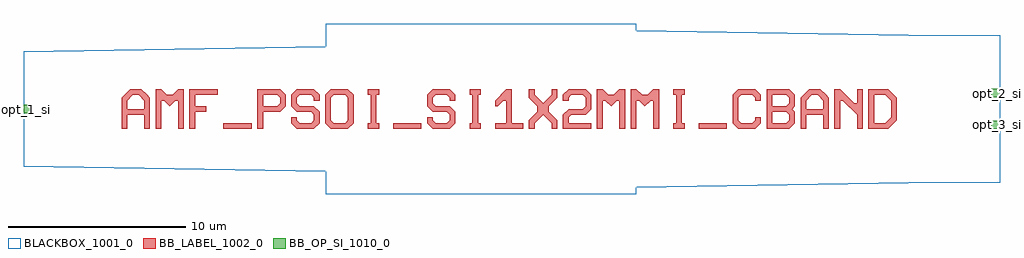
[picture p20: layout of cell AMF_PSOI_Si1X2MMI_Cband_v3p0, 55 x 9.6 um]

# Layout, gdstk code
import gdstk
lib = gdstk.Library(unit=1e-6, precision=1e-09)
def R(c, l, rs):  # rectangles x0, y0, x1, y1
    for r in rs: c.add(gdstk.rectangle(r[:2], r[2:], *l))
def P(c, l, *ps):  # polygons
    for p in ps: c.add(gdstk.Polygon(p, *l))
BLACKBOX_1001_0 = (1001, 0)
BB_LABEL_1002_0 = (1002, 0)
BB_OP_SI_1010_0 = (1010, 0)

amf_psoi_si1x2mmi_cband_ = lib.new_cell('AMF_PSOI_Si1X2MMI_Cband_v3p0')
P(amf_psoi_si1x2mmi_cband_, BLACKBOX_1001_0, [(17,-4.8),(17,-3.548),(0,-3.251),(0,3.25),(17,3.548),(17,4.8),(34.5,4.8),(34.5,4.448),(51.552,4.15),(55,4.15),(55,-4.15),(51.552,-4.15),(34.5,-4.448),(34.5,-4.8)])
R(amf_psoi_si1x2mmi_cband_, BB_LABEL_1002_0, [(11.239,-1.116,12.833,-0.797), (20.804,-1.116,22.398,-0.797), (38.021,-1.116,39.615,-0.797)])
P(amf_psoi_si1x2mmi_cband_, BB_LABEL_1002_0, [(5.5,-1.116),(5.5,0.637),(5.978,1.116),(6.616,1.116),(6.935,0.797),(6.138,0.797),(5.819,0.478),(5.819,0),(6.775,0),(6.775,0.478),(6.456,0.797),(6.935,0.797),(7.094,0.637),(7.094,-1.116),(6.775,-1.116),(6.775,-0.319),(5.819,-0.319),(5.819,-1.116)],
  [(7.413,-1.116),(7.413,1.116),(7.732,1.116),(8.051,0.797),(8.369,0.797),(8.688,1.116),(9.007,1.116),(9.007,-1.116),(8.688,-1.116),(8.688,0.478),(8.529,0.478),(8.21,0.159),(7.891,0.478),(7.732,0.478),(7.732,-1.116)],
  [(9.326,-1.116),(9.326,1.116),(10.92,1.116),(10.92,0.797),(9.645,0.797),(9.645,0.159),(10.282,0.159),(10.282,-0.16),(9.645,-0.16),(9.645,-1.116)],
  [(13.152,-1.116),(13.152,1.116),(14.427,1.116),(14.746,0.797),(14.746,0.159),(14.427,-0.16),(13.471,-0.16),(13.471,0.159),(14.268,0.159),(14.427,0.319),(14.427,0.637),(14.268,0.797),(13.471,0.797),(13.471,-1.116)],
  [(15.384,-1.116),(15.065,-0.797),(15.065,-0.478),(15.384,-0.478),(15.384,-0.638),(15.543,-0.797),(16.181,-0.797),(16.34,-0.638),(16.34,-0.319),(16.181,-0.16),(15.384,-0.16),(15.065,0.159),(15.065,0.797),(15.384,1.116),(16.34,1.116),(16.659,0.797),(16.659,0.478),(16.34,0.478),(16.34,0.637),(16.181,0.797),(15.543,0.797),(15.384,0.637),(15.384,0.319),(15.543,0.159),(16.34,0.159),(16.659,-0.16),(16.659,-0.797),(16.34,-1.116)],
  [(17.297,-1.116),(16.978,-0.797),(16.978,0.797),(17.297,1.116),(18.253,1.116),(18.572,0.797),(18.572,0),(18.253,0),(18.253,0.637),(18.094,0.797),(17.456,0.797),(17.297,0.637),(17.297,-0.638),(17.456,-0.797),(18.094,-0.797),(18.253,-0.638),(18.253,0),(18.572,0),(18.572,-0.797),(18.253,-1.116)],
  [(19.369,-1.116),(19.369,-0.797),(19.529,-0.797),(19.529,0.797),(19.369,0.797),(19.369,1.116),(20.007,1.116),(20.007,0.797),(19.847,0.797),(19.847,-0.797),(20.007,-0.797),(20.007,-1.116)],
  [(23.036,-1.116),(22.717,-0.797),(22.717,-0.478),(23.036,-0.478),(23.036,-0.638),(23.195,-0.797),(23.833,-0.797),(23.992,-0.638),(23.992,-0.319),(23.833,-0.16),(23.036,-0.16),(22.717,0.159),(22.717,0.797),(23.036,1.116),(23.992,1.116),(24.311,0.797),(24.311,0.478),(23.992,0.478),(23.992,0.637),(23.833,0.797),(23.195,0.797),(23.036,0.637),(23.036,0.319),(23.195,0.159),(23.992,0.159),(24.311,-0.16),(24.311,-0.797),(23.992,-1.116)],
  [(25.108,-1.116),(25.108,-0.797),(25.268,-0.797),(25.268,0.797),(25.108,0.797),(25.108,1.116),(25.746,1.116),(25.746,0.797),(25.586,0.797),(25.586,-0.797),(25.746,-0.797),(25.746,-1.116)],
  [(26.543,-1.116),(26.543,-0.797),(27.181,-0.797),(27.181,0.478),(27.021,0.478),(26.702,0.159),(26.543,0.159),(26.543,0.478),(27.181,1.116),(27.499,1.116),(27.499,-0.797),(28.137,-0.797),(28.137,-1.116)],
  [(28.456,-1.116),(28.456,-0.638),(28.934,-0.16),(28.934,0.159),(28.456,0.637),(28.456,1.116),(28.775,1.116),(28.775,0.797),(29.253,0.319),(29.731,0.797),(29.731,1.116),(30.05,1.116),(30.05,0.637),(29.572,0.159),(29.572,-0.16),(30.05,-0.638),(30.05,-1.116),(29.731,-1.116),(29.731,-0.797),(29.253,-0.319),(28.775,-0.797),(28.775,-1.116)],
  [(30.369,-1.116),(30.369,-0.319),(30.688,0),(31.485,0),(31.644,0.159),(31.644,0.637),(31.485,0.797),(30.847,0.797),(30.688,0.637),(30.688,0.478),(30.369,0.478),(30.369,0.797),(30.688,1.116),(31.644,1.116),(31.963,0.797),(31.963,0),(31.644,-0.319),(30.847,-0.319),(30.688,-0.478),(30.688,-0.797),(31.963,-0.797),(31.963,-1.116)],
  [(32.282,-1.116),(32.282,1.116),(32.601,1.116),(32.92,0.797),(33.238,0.797),(33.557,1.116),(33.876,1.116),(33.876,-1.116),(33.557,-1.116),(33.557,0.478),(33.398,0.478),(33.079,0.159),(32.76,0.478),(32.601,0.478),(32.601,-1.116)],
  [(34.195,-1.116),(34.195,1.116),(34.514,1.116),(34.833,0.797),(35.151,0.797),(35.47,1.116),(35.789,1.116),(35.789,-1.116),(35.47,-1.116),(35.47,0.478),(35.311,0.478),(34.992,0.159),(34.673,0.478),(34.514,0.478),(34.514,-1.116)],
  [(36.586,-1.116),(36.586,-0.797),(36.746,-0.797),(36.746,0.797),(36.586,0.797),(36.586,1.116),(37.224,1.116),(37.224,0.797),(37.064,0.797),(37.064,-0.797),(37.224,-0.797),(37.224,-1.116)],
  [(40.253,-1.116),(39.934,-0.797),(39.934,0.797),(40.253,1.116),(41.209,1.116),(41.528,0.797),(41.528,0.478),(41.209,0.478),(41.209,0.637),(41.05,0.797),(40.412,0.797),(40.253,0.637),(40.253,-0.638),(40.412,-0.797),(41.05,-0.797),(41.209,-0.638),(41.209,-0.478),(41.528,-0.478),(41.528,-0.797),(41.209,-1.116)],
  [(41.847,-1.116),(41.847,1.116),(43.122,1.116),(43.441,0.797),(42.166,0.797),(42.166,0.159),(42.963,0.159),(43.122,0.319),(43.122,0.637),(42.963,0.797),(43.441,0.797),(43.441,0.159),(43.282,0),(43.441,-0.16),(42.166,-0.16),(42.166,-0.797),(42.963,-0.797),(43.122,-0.638),(43.122,-0.319),(42.963,-0.16),(43.441,-0.16),(43.441,-0.797),(43.122,-1.116)],
  [(43.76,-1.116),(43.76,0.637),(44.238,1.116),(44.876,1.116),(45.195,0.797),(44.398,0.797),(44.079,0.478),(44.079,0),(45.035,0),(45.035,0.478),(44.716,0.797),(45.195,0.797),(45.354,0.637),(45.354,-1.116),(45.035,-1.116),(45.035,-0.319),(44.079,-0.319),(44.079,-1.116)],
  [(45.673,-1.116),(45.673,1.116),(45.992,1.116),(46.789,0.319),(46.948,0.319),(46.948,1.116),(47.267,1.116),(47.267,-1.116),(46.948,-1.116),(46.948,-0.319),(46.151,0.478),(45.992,0.478),(45.992,-1.116)],
  [(47.586,-1.116),(47.586,1.116),(48.702,1.116),(49.021,0.797),(47.905,0.797),(47.905,-0.797),(48.542,-0.797),(48.861,-0.478),(48.861,0.478),(48.542,0.797),(49.021,0.797),(49.18,0.637),(49.18,-0.638),(48.702,-1.116)])
R(amf_psoi_si1x2mmi_cband_, BB_OP_SI_1010_0, [(54.5,-1.15,55,-0.65), (0,-0.25,0.5,0.25), (54.5,0.65,55,1.15)])
amf_psoi_si1x2mmi_cband_.add(gdstk.Label('opt_2_si', (55,0.9), layer=1010, texttype=0))
amf_psoi_si1x2mmi_cband_.add(gdstk.Label('opt_3_si', (55,-0.9), layer=1010, texttype=0))
amf_psoi_si1x2mmi_cband_.add(gdstk.Label('opt_1_si', (0,0), layer=1010, texttype=0))

lib.write_gds('AMF_PSOI_Si1X2MMI_Cband_v3p0.gds')
